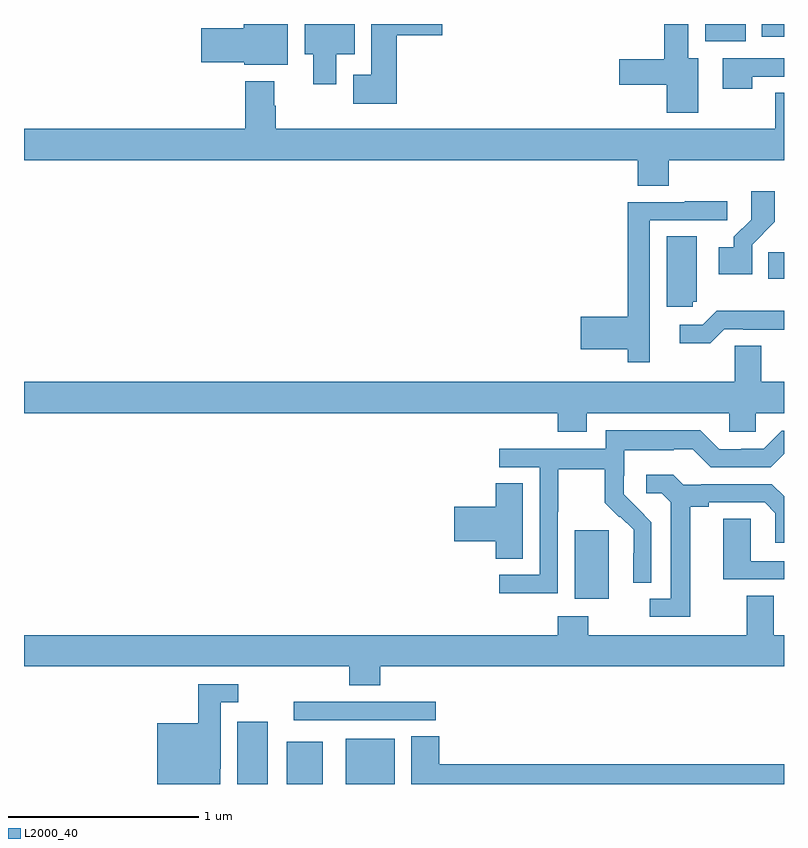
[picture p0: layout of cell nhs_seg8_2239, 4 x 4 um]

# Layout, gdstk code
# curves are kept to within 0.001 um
import gdstk
lib = gdstk.Library(unit=1e-6, precision=1e-09)
def R(c, l, rs):  # rectangles x0, y0, x1, y1
    for r in rs: c.add(gdstk.rectangle(r[:2], r[2:], *l))
def P(c, l, *ps):  # polygons
    for p in ps: c.add(gdstk.Polygon(p, *l))
L2000_40 = (2000, 40)

nhs_seg8_2239 = lib.new_cell('nhs_seg8_2239')
R(nhs_seg8_2239, L2000_40, [(254.123,1095.9,254.284,1096.228), (254.384,1095.9,254.572,1096.123), (254.693,1095.9,254.95,1096.138), (254.421,1096.236,255.166,1096.332), (255.899,1096.874,256.078,1097.235), (256.918,1098.56,257,1098.698), (256.586,1099.808,256.798,1099.9), (256.883,1099.832,257,1099.9)])
P(nhs_seg8_2239, L2000_40, [(254.963,1099.841),(255.202,1099.841),(255.202,1099.9),(254.828,1099.9),(254.828,1099.633),(254.733,1099.633),(254.733,1099.481),(254.963,1099.481)],
  [(254.389,1099.9),(254.156,1099.9),(254.156,1099.877),(253.932,1099.877),(253.932,1099.699),(254.16,1099.699),(254.16,1099.685),(254.389,1099.685)],
  [(256.549,1099.72),(256.495,1099.72),(256.495,1099.9),(256.37,1099.9),(256.37,1099.715),(256.134,1099.715),(256.134,1099.58),(256.382,1099.58),(256.382,1099.434),(256.549,1099.434)],
  [(254.644,1099.742),(254.74,1099.742),(254.74,1099.9),(254.477,1099.9),(254.477,1099.742),(254.522,1099.742),(254.522,1099.584),(254.644,1099.584)],
  [(256.833,1099.623),(257,1099.623),(257,1099.719),(256.677,1099.719),(256.677,1099.56),(256.833,1099.56)],
  [(256.394,1099.184),(257,1099.184),(257,1099.538),(256.954,1099.538),(256.954,1099.348),(254.325,1099.348),(254.325,1099.469),(254.317,1099.469),(254.317,1099.6),(254.165,1099.6),(254.165,1099.348),(253,1099.348),(253,1099.184),(256.229,1099.184),(256.229,1099.048),(256.394,1099.048)],
  [(256.833,1098.739),(256.952,1098.858),(256.952,1099.021),(256.827,1099.021),(256.827,1098.869),(256.736,1098.779),(256.736,1098.724),(256.656,1098.724),(256.656,1098.584),(256.833,1098.584)],
  [(256.294,1098.342),(256.293,1098.342),(256.293,1098.867),(256.702,1098.867),(256.702,1098.966),(256.477,1098.966),(256.477,1098.963),(256.177,1098.963),(256.177,1098.359),(255.93,1098.359),(255.93,1098.188),(256.177,1098.188),(256.177,1098.12),(256.294,1098.12)],
  [(256.521,1098.438),(256.54,1098.438),(256.54,1098.782),(256.382,1098.782),(256.382,1098.411),(256.521,1098.411)],
  [(256.686,1098.294),(256.786,1098.294),(256.786,1098.291),(257,1098.291),(257,1098.391),(256.645,1098.391),(256.572,1098.318),(256.452,1098.318),(256.452,1098.221),(256.613,1098.221)],
  [(255.961,1097.852),(256.713,1097.852),(256.713,1097.754),(256.851,1097.754),(256.851,1097.852),(257,1097.852),(257,1098.016),(256.879,1098.016),(256.879,1098.206),(256.74,1098.206),(256.74,1098.016),(253,1098.016),(253,1097.852),(255.809,1097.852),(255.809,1097.753),(255.961,1097.753)],
  [(255.81,1097.332),(255.813,1097.332),(255.813,1097.556),(256.057,1097.556),(256.057,1097.381),(256.134,1097.304),(256.137,1097.307),(256.208,1097.237),(256.208,1097.114),(256.206,1097.114),(256.206,1096.96),(256.302,1096.96),(256.302,1097.278),(256.156,1097.426),(256.156,1097.523),(256.158,1097.523),(256.158,1097.657),(256.421,1097.657),(256.421,1097.661),(256.521,1097.661),(256.614,1097.568),(256.929,1097.568),(257,1097.639),(257,1097.76),(256.989,1097.76),(256.893,1097.664),(256.775,1097.664),(256.775,1097.661),(256.659,1097.661),(256.559,1097.761),(256.062,1097.761),(256.062,1097.664),(255.501,1097.664),(255.501,1097.568),(255.714,1097.568),(255.714,1097.001),(255.501,1097.001),(255.501,1096.903),(255.81,1096.903)],
  [(256.507,1097.36),(256.603,1097.36),(256.603,1097.382),(256.898,1097.382),(256.955,1097.325),(256.955,1097.169),(257,1097.169),(257,1097.414),(256.936,1097.478),(256.564,1097.478),(256.564,1097.475),(256.47,1097.475),(256.418,1097.527),(256.275,1097.527),(256.275,1097.43),(256.356,1097.43),(256.403,1097.383),(256.403,1096.875),(256.293,1096.875),(256.293,1096.779),(256.507,1096.779)],
  [(255.625,1097.483),(255.482,1097.483),(255.482,1097.36),(255.264,1097.36),(255.264,1097.177),(255.482,1097.177),(255.482,1097.086),(255.625,1097.086)],
  [(257,1097.073),(256.824,1097.073),(256.824,1097.297),(256.679,1097.297),(256.679,1096.977),(257,1096.977)],
  [(254.876,1096.52),(257,1096.52),(257,1096.684),(256.945,1096.684),(256.945,1096.892),(256.805,1096.892),(256.805,1096.684),(255.969,1096.684),(255.969,1096.783),(255.809,1096.783),(255.809,1096.684),(253,1096.684),(253,1096.52),(254.711,1096.52),(254.711,1096.421),(254.876,1096.421)],
  [(254.034,1095.979),(254.035,1095.979),(254.035,1096.329),(254.128,1096.329),(254.128,1096.425),(253.918,1096.425),(253.918,1096.219),(253.7,1096.219),(253.7,1095.9),(254.034,1095.9)],
  [(257,1096.004),(255.185,1096.004),(255.185,1096.151),(255.038,1096.151),(255.038,1095.9),(257,1095.9)])

lib.write_gds('nhs_seg8_2239.gds')
